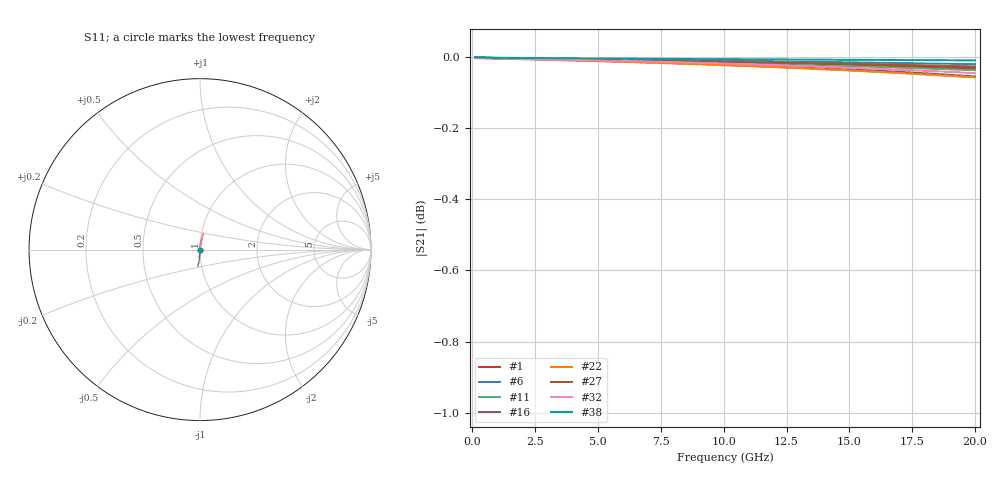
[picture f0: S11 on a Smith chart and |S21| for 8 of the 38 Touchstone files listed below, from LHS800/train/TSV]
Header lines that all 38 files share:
! Touchstone file exported from HFSS 2026.1.0
!  Design:  TSV
! Variables:
! Terminal data exported
# GHz S MA R 50.000000
Fixed: h_bsmrdl = 2um, h_ox = 20um, h_rdl = 5um, h_tmrdl = 5um, h_via = 3um, l_bsmrdl = 300um, l_tmrdl = 200um, m_sub = 200um, s_tmrdl = 10um, w_bsmrdl = 18um, w_sub = 500um, w_tmrdl = 12um, x_tsv_center1 = 206um, x_tsv_center2 = 524um, x_tsv_center3 = 736um, x_tsv_center4 = 1054um, x_tsv_center5 = 1266um, x_tsv_center6 = 1584um
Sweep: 100 MHz to 20 GHz
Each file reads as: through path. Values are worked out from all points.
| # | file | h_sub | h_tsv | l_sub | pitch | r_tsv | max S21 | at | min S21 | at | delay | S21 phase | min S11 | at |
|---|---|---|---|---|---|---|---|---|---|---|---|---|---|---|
| 1 | dut860.s2p | 83.64um | 83.64um | 415.66um | 55.21um | 7.83um | 0.00 dB | 100 MHz | 0.0 dB | 20 GHz | 1.32 ps | -5 deg at 10.1 GHz | -67.6 dB | 100 MHz |
| 2 | dut861.s2p | 71.26um | 71.26um | 421.3um | 32.15um | 10.65um | 0.00 dB | 100 MHz | 0.0 dB | 20 GHz | 1 ps | -4 deg at 10.1 GHz | -74.4 dB | 100 MHz |
| 3 | dut862.s2p | 66.42um | 66.42um | 423.16um | 47.46um | 11.58um | 0.00 dB | 100 MHz | 0.0 dB | 20 GHz | - | -3 deg at 10.1 GHz | -79.7 dB | 100 MHz |
| 4 | dut863.s2p | 72.09um | 72.09um | 414.84um | 18.01um | 7.42um | 0.00 dB | 100 MHz | -0.1 dB | 20 GHz | 1.17 ps | -4 deg at 10.1 GHz | -67.3 dB | 100 MHz |
| 5 | dut864.s2p | 81.16um | 81.16um | 406.28um | 19.58um | 3.14um | -0.01 dB | 100 MHz | 0.0 dB | 20 GHz | 1.1 ps | -4 deg at 10.1 GHz | -60.0 dB | 100 MHz |
| 6 | dut865.s2p | 92.73um | 92.73um | 425.1um | 39.27um | 12.55um | 0.00 dB | 100 MHz | 0.0 dB | 20 GHz | 1.27 ps | -5 deg at 10.1 GHz | -74.1 dB | 100 MHz |
| 7 | dut866.s2p | 51.32um | 51.32um | 426.38um | 36.73um | 13.19um | 0.00 dB | 100 MHz | 0.0 dB | 20 GHz | - | -3 deg at 10.1 GHz | -74.5 dB | 100 MHz |
| 8 | dut867.s2p | 80.91um | 80.91um | 408.36um | 11.3um | 4.18um | 0.00 dB | 100 MHz | 0.0 dB | 20 GHz | 1.14 ps | -4 deg at 10.1 GHz | -64.1 dB | 100 MHz |
| 9 | dut868.s2p | 82.15um | 82.15um | 425.14um | 28.44um | 12.57um | 0.00 dB | 100 MHz | -0.1 dB | 20 GHz | 1.55 ps | -6 deg at 10.1 GHz | -63.5 dB | 100 MHz |
| 10 | dut869.s2p | 91.22um | 91.22um | 418.72um | 58.62um | 9.36um | 0.00 dB | 100 MHz | 0.0 dB | 20 GHz | 1.39 ps | -5 deg at 10.1 GHz | -68.7 dB | 100 MHz |
| 11 | dut870.s2p | 62.11um | 62.11um | 409.64um | 44.7um | 4.82um | 0.00 dB | 100 MHz | 0.0 dB | 20 GHz | 1.08 ps | -4 deg at 10.1 GHz | -65.8 dB | 100 MHz |
| 12 | dut871.s2p | 58.46um | 58.46um | 408.86um | 39.05um | 4.43um | 0.00 dB | 100 MHz | 0.0 dB | 20 GHz | - | -4 deg at 10.1 GHz | -65.9 dB | 100 MHz |
| 13 | dut872.s2p | 85.06um | 85.06um | 423.86um | 31.15um | 11.93um | 0.00 dB | 100 MHz | 0.0 dB | 20 GHz | 1.28 ps | -5 deg at 10.1 GHz | -68.5 dB | 100 MHz |
| 14 | dut873.s2p | 79.92um | 79.92um | 406.56um | 33.56um | 3.28um | -0.01 dB | 100 MHz | -0.1 dB | 20 GHz | 1.29 ps | -5 deg at 10.1 GHz | -60.1 dB | 100 MHz |
| 15 | dut874.s2p | 64.18um | 64.18um | 420.38um | 38.8um | 10.19um | 0.00 dB | 100 MHz | 0.0 dB | 20 GHz | - | -3 deg at 10.1 GHz | -79.4 dB | 100 MHz |
| 16 | dut875.s2p | 60.39um | 60.39um | 423.4um | 26.96um | 11.7um | 0.00 dB | 100 MHz | -0.1 dB | 20 GHz | 1.11 ps | -4 deg at 10.1 GHz | -66.9 dB | 100 MHz |
| 17 | dut876.s2p | 87.21um | 87.21um | 417.38um | 45.98um | 8.69um | 0.00 dB | 100 MHz | 0.0 dB | 20 GHz | 1.24 ps | -5 deg at 10.1 GHz | -71.3 dB | 100 MHz |
| 18 | dut877.s2p | 72.31um | 72.31um | 406.8um | 19.9um | 3.4um | -0.01 dB | 100 MHz | 0.0 dB | 20 GHz | - | -4 deg at 10.1 GHz | -62.3 dB | 100 MHz |
| 19 | dut878.s2p | 58.06um | 58.06um | 427.8um | 36.8um | 13.9um | 0.00 dB | 100 MHz | 0.0 dB | 20 GHz | - | -3 deg at 10.1 GHz | -71.9 dB | 100 MHz |
| 20 | dut879.s2p | 99.41um | 99.41um | 420.68um | 37.12um | 10.34um | 0.00 dB | 100 MHz | 0.0 dB | 20 GHz | 1.32 ps | -5 deg at 10.1 GHz | -76.2 dB | 100 MHz |
| 21 | dut880.s2p | 95.71um | 95.71um | 428.08um | 35.38um | 14.04um | 0.00 dB | 100 MHz | -0.1 dB | 20 GHz | 1.49 ps | -5 deg at 10.1 GHz | -66.4 dB | 100 MHz |
| 22 | dut881.s2p | 90.01um | 90.01um | 411.68um | 54.11um | 5.84um | 0.00 dB | 100 MHz | -0.1 dB | 20 GHz | 1.5 ps | -5 deg at 10.1 GHz | -64.1 dB | 100 MHz |
| 23 | dut882.s2p | 59.85um | 59.85um | 415.8um | 54.25um | 7.9um | 0.00 dB | 100 MHz | 0.0 dB | 20 GHz | 1.01 ps | -4 deg at 10.1 GHz | -69.9 dB | 100 MHz |
| 24 | dut883.s2p | 67.71um | 67.71um | 424.84um | 38.26um | 12.42um | 0.00 dB | 100 MHz | 0.0 dB | 20 GHz | - | -4 deg at 10.1 GHz | -75.9 dB | 100 MHz |
| 25 | dut884.s2p | 89.59um | 89.59um | 420.9um | 54.75um | 10.45um | 0.00 dB | 100 MHz | 0.0 dB | 20 GHz | 1.3 ps | -5 deg at 10.1 GHz | -71.8 dB | 100 MHz |
| 26 | dut885.s2p | 51.94um | 51.94um | 420.52um | 59.4um | 10.26um | 0.00 dB | 100 MHz | 0.0 dB | 20 GHz | - | -3 deg at 10.1 GHz | -73.1 dB | 100 MHz |
| 27 | dut886.s2p | 63.86um | 63.86um | 411.58um | 43.24um | 5.79um | 0.00 dB | 100 MHz | 0.0 dB | 20 GHz | 1.03 ps | -4 deg at 10.1 GHz | -67.9 dB | 100 MHz |
| 28 | dut887.s2p | 70.97um | 70.97um | 422.7um | 27.35um | 11.35um | 0.00 dB | 100 MHz | -0.1 dB | 20 GHz | 1.19 ps | -4 deg at 10.1 GHz | -67.3 dB | 100 MHz |
| 29 | dut888.s2p | 57.81um | 57.81um | 417.3um | 35.51um | 8.65um | 0.00 dB | 100 MHz | 0.0 dB | 20 GHz | - | -3 deg at 10.1 GHz | -77.4 dB | 100 MHz |
| 30 | dut890.s2p | 66.96um | 66.96um | 425.54um | 53.12um | 12.77um | 0.00 dB | 100 MHz | 0.0 dB | 20 GHz | - | -4 deg at 10.1 GHz | -80.0 dB | 100 MHz |
| 31 | dut891.s2p | 51.51um | 51.51um | 424.32um | 53.22um | 12.16um | 0.00 dB | 100 MHz | 0.0 dB | 20 GHz | - | -3 deg at 10.1 GHz | -79.6 dB | 100 MHz |
| 32 | dut892.s2p | 77.12um | 77.12um | 412.76um | 56.71um | 6.38um | 0.00 dB | 100 MHz | 0.0 dB | 20 GHz | 1.33 ps | -5 deg at 10.1 GHz | -65.6 dB | 100 MHz |
| 33 | dut893.s2p | 69.77um | 69.77um | 413.28um | 39.82um | 6.64um | 0.00 dB | 100 MHz | 0.0 dB | 20 GHz | 1.04 ps | -4 deg at 10.1 GHz | -69.9 dB | 100 MHz |
| 34 | dut894.s2p | 96.59um | 96.59um | 416.64um | 58.71um | 8.32um | 0.00 dB | 100 MHz | 0.0 dB | 20 GHz | 1.5 ps | -5 deg at 10.1 GHz | -66.8 dB | 100 MHz |
| 35 | dut895.s2p | 68.87um | 68.87um | 406.18um | 27.45um | 3.09um | -0.01 dB | 100 MHz | 0.0 dB | 20 GHz | 1.07 ps | -4 deg at 10.1 GHz | -60.7 dB | 100 MHz |
| 36 | dut897.s2p | 56.59um | 56.59um | 417.66um | 36.72um | 8.83um | 0.00 dB | 100 MHz | 0.0 dB | 20 GHz | - | -3 deg at 10.1 GHz | -77.6 dB | 100 MHz |
| 37 | dut898.s2p | 69.83um | 69.83um | 411.48um | 58.89um | 5.74um | 0.00 dB | 100 MHz | -0.1 dB | 20 GHz | 1.3 ps | -5 deg at 10.1 GHz | -64.9 dB | 100 MHz |
| 38 | dut899.s2p | 71.07um | 71.07um | 428.38um | 49.66um | 14.19um | 0.00 dB | 100 MHz | 0.0 dB | 20 GHz | 1.01 ps | -4 deg at 10.1 GHz | -81.4 dB | 100 MHz |
